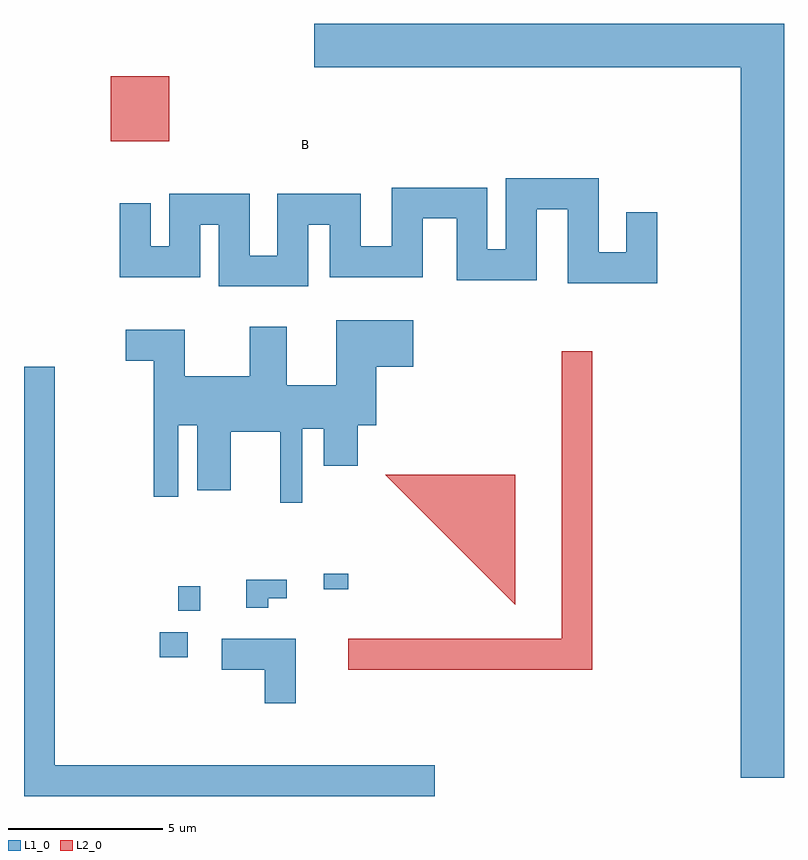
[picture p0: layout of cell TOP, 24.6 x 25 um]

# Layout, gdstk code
import gdstk
lib = gdstk.Library(unit=1e-6, precision=1e-09)
def R(c, l, rs):  # rectangles x0, y0, x1, y1
    for r in rs: c.add(gdstk.rectangle(r[:2], r[2:], *l))
def P(c, l, *ps):  # polygons
    for p in ps: c.add(gdstk.Polygon(p, *l))
L1_0 = (1, 0)
L2_0 = (2, 0)

c_a = lib.new_cell('A')
R(c_a, L1_0, [(1.3,1.5,2.2,2.3), (1.9,3,2.6,3.8), (6.6,3.7,7.4,4.2), (1.1,6.7,1.9,9)])
P(c_a, L1_0, [(5.2,6.5),(5.2,9),(7.7,9),(7.7,7.7),(6.6,7.7),(6.6,8.9),(5.9,8.9),(5.9,6.5)],
  [(2.5,6.9),(2.5,9),(5.2,9),(5.2,8.8),(3.6,8.8),(3.6,6.9)],
  [(5.4,9),(5.4,10.3),(7,10.3),(7,12.4),(9.5,12.4),(9.5,10.9),(8.3,10.9),(8.3,9)],
  [(1.1,9),(1.1,11.1),(0.2,11.1),(0.2,12.1),(2.1,12.1),(2.1,10.6),(4.2,10.6),(4.2,12.2),(5.4,12.2),(5.4,9)],
  [(14.5,13.6),(14.5,16),(13.5,16),(13.5,17),(15.5,17),(15.5,14.6),(16.4,14.6),(16.4,15.9),(17.4,15.9),(17.4,13.6)],
  [(10.9,13.7),(10.9,16.7),(11.9,16.7),(11.9,14.7),(12.5,14.7),(12.5,17),(13.5,17),(13.5,13.7)],
  [(8.8,13.8),(8.8,16.7),(10.9,16.7),(10.9,15.7),(9.8,15.7),(9.8,13.8)],
  [(6.8,13.8),(6.8,16.5),(7.8,16.5),(7.8,14.8),(8.8,14.8),(8.8,13.8)],
  [(4.2,13.5),(4.2,14.5),(5.1,14.5),(5.1,16.5),(6.8,16.5),(6.8,15.5),(6.1,15.5),(6.1,13.5)],
  [(3.2,13.5),(3.2,15.5),(2.6,15.5),(2.6,16.5),(4.2,16.5),(4.2,13.5)],
  [(0,13.8),(0,16.2),(1,16.2),(1,14.8),(1.6,14.8),(1.6,16.5),(2.6,16.5),(2.6,13.8)],
  [(4.1,3.1),(4.1,4),(5.4,4),(5.4,3.4),(4.8,3.4),(4.8,3.1)])
R(c_a, L2_0, [(7.4,1.1,15.3,2.1), (14.3,2.1,15.3,11.4)])
P(c_a, L2_0, [(12.8,3.2),(8.6,7.4),(12.8,7.4)])
c_a.add(gdstk.FlexPath([(3.3,1.6),(5.2,1.6),(5.2,0)], 1, ends="flush", simple_path=True, layer=1, datatype=0))  # L1_0

top = lib.new_cell('TOP')
P(top, L1_0, [(16.5,-2),(16.5,21),(2.7,21),(2.7,22.4),(17.9,22.4),(17.9,-2)])
R(top, L2_0, [(-3.9,18.6,-2,20.7)])
top.add(gdstk.FlexPath([(-6.2,11.3),(-6.2,-2.1),(6.6,-2.1)], 1, ends="flush", simple_path=True, layer=1, datatype=0))  # L1_0
top.add(gdstk.Reference(c_a, (-3.6,0.4)))
top.add(gdstk.Label('B', (2.4,18.5), layer=2, texttype=0))

lib.write_gds('TOP.gds')
